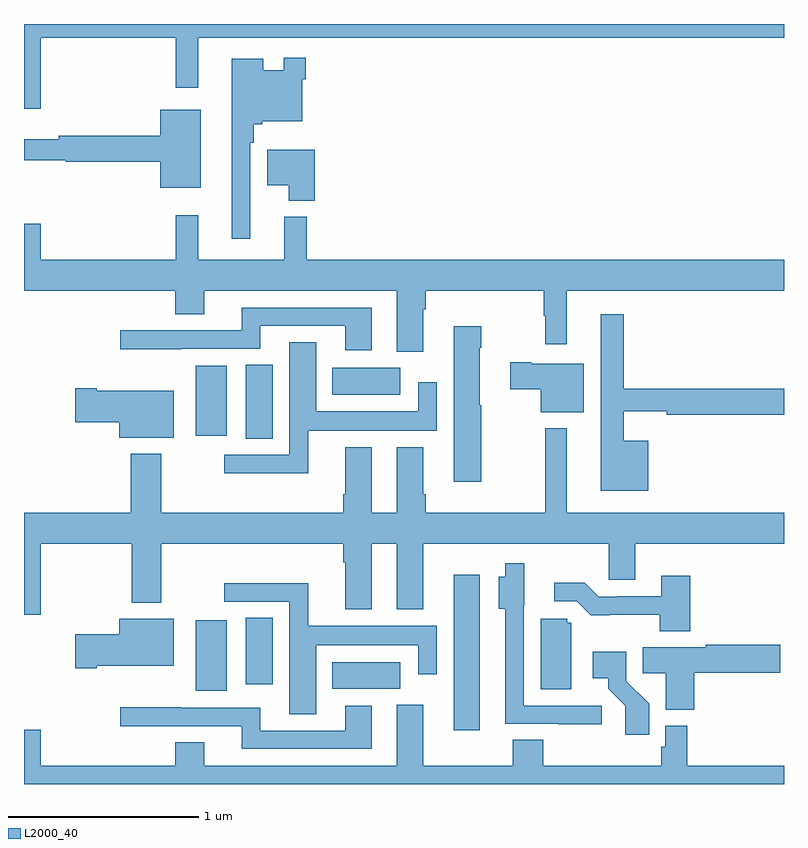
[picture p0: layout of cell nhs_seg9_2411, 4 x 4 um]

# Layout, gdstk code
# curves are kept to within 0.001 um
import gdstk
lib = gdstk.Library(unit=1e-6, precision=1e-09)
def R(c, l, rs):  # rectangles x0, y0, x1, y1
    for r in rs: c.add(gdstk.rectangle(r[:2], r[2:], *l))
def P(c, l, *ps):  # polygons
    for p in ps: c.add(gdstk.Polygon(p, *l))
L2000_40 = (2000, 40)

nhs_seg9_2411 = lib.new_cell('nhs_seg9_2411')
R(nhs_seg9_2411, L2000_40, [(251.261,1184.784,251.398,1185.601), (249.905,1184.99,250.066,1185.361), (250.622,1185.002,250.981,1185.142), (250.166,1185.024,250.309,1185.374), (250.166,1186.318,250.309,1186.706), (249.905,1186.332,250.066,1186.702), (250.622,1186.55,250.981,1186.69)])
P(nhs_seg9_2411, L2000_40, [(249.088,1188.428),(249.799,1188.428),(249.799,1188.165),(249.917,1188.165),(249.917,1188.428),(253,1188.428),(253,1188.5),(249,1188.5),(249,1188.054),(249.088,1188.054)],
  [(250.191,1187.876),(250.209,1187.876),(250.209,1187.972),(250.254,1187.972),(250.254,1187.987),(250.464,1187.987),(250.464,1188.209),(250.484,1188.209),(250.484,1188.322),(250.368,1188.322),(250.368,1188.256),(250.258,1188.256),(250.258,1188.316),(250.094,1188.316),(250.094,1187.37),(250.191,1187.37)],
  [(249.931,1188.049),(249.716,1188.049),(249.716,1187.912),(249.184,1187.912),(249.184,1187.893),(249,1187.893),(249,1187.784),(249.22,1187.784),(249.22,1187.776),(249.716,1187.776),(249.716,1187.639),(249.931,1187.639)],
  [(250.529,1187.839),(250.281,1187.839),(250.281,1187.651),(250.394,1187.651),(250.394,1187.57),(250.529,1187.57)],
  [(251.101,1187),(251.114,1187),(251.114,1187.096),(251.736,1187.096),(251.736,1186.964),(251.743,1186.964),(251.743,1186.815),(251.857,1186.815),(251.857,1187.096),(253,1187.096),(253,1187.26),(250.487,1187.26),(250.487,1187.485),(250.37,1187.485),(250.37,1187.26),(249.917,1187.26),(249.917,1187.494),(249.799,1187.494),(249.799,1187.26),(249.088,1187.26),(249.088,1187.449),(249,1187.449),(249,1187.096),(249.797,1187.096),(249.797,1186.972),(249.949,1186.972),(249.949,1187.096),(250.961,1187.096),(250.961,1186.776),(251.101,1186.776)],
  [(250.831,1187.007),(250.145,1187.007),(250.145,1186.887),(249.507,1186.887),(249.507,1186.789),(249.827,1186.789),(249.827,1186.791),(250.243,1186.791),(250.243,1186.911),(250.691,1186.911),(250.691,1186.782),(250.831,1186.782)],
  [(252.286,1186.306),(252.157,1186.306),(252.157,1186.463),(252.382,1186.463),(252.382,1186.444),(253,1186.444),(253,1186.58),(252.157,1186.58),(252.157,1186.972),(252.035,1186.972),(252.035,1186.043),(252.286,1186.043)],
  [(251.406,1186.493),(251.398,1186.493),(251.398,1186.796),(251.406,1186.796),(251.406,1186.909),(251.261,1186.909),(251.261,1186.092),(251.406,1186.092)],
  [(250.496,1186.358),(251.172,1186.358),(251.172,1186.615),(251.076,1186.615),(251.076,1186.462),(250.537,1186.462),(250.537,1186.826),(250.397,1186.826),(250.397,1186.233),(250.053,1186.233),(250.053,1186.136),(250.496,1186.136)],
  [(251.947,1186.711),(251.671,1186.711),(251.671,1186.719),(251.559,1186.719),(251.559,1186.577),(251.72,1186.577),(251.72,1186.457),(251.947,1186.457)],
  [(249.787,1186.57),(249.382,1186.57),(249.382,1186.583),(249.27,1186.583),(249.27,1186.405),(249.5,1186.405),(249.5,1186.322),(249.787,1186.322)],
  [(249.088,1185.764),(249.568,1185.764),(249.568,1185.455),(249.723,1185.455),(249.723,1185.764),(250.679,1185.764),(250.679,1185.668),(250.691,1185.668),(250.691,1185.419),(250.831,1185.419),(250.831,1185.764),(250.961,1185.764),(250.961,1185.419),(251.101,1185.419),(251.101,1185.764),(252.078,1185.764),(252.078,1185.574),(252.217,1185.574),(252.217,1185.764),(253,1185.764),(253,1185.928),(251.857,1185.928),(251.857,1186.372),(251.743,1186.372),(251.743,1185.928),(251.114,1185.928),(251.114,1186.024),(251.101,1186.024),(251.101,1186.273),(250.961,1186.273),(250.961,1185.928),(250.831,1185.928),(250.831,1186.273),(250.691,1186.273),(250.691,1186.024),(250.679,1186.024),(250.679,1185.928),(249.723,1185.928),(249.723,1186.237),(249.563,1186.237),(249.563,1185.928),(249,1185.928),(249,1185.39),(249.088,1185.39)],
  [(252.04,1184.913),(251.631,1184.913),(251.631,1185.438),(251.632,1185.438),(251.632,1185.661),(251.534,1185.661),(251.534,1185.592),(251.498,1185.592),(251.498,1185.422),(251.534,1185.422),(251.534,1184.817),(251.815,1184.817),(251.815,1184.815),(252.04,1184.815)],
  [(252.506,1185.595),(252.353,1185.595),(252.353,1185.489),(252.124,1185.489),(252.124,1185.486),(252.024,1185.486),(251.951,1185.559),(251.79,1185.559),(251.79,1185.462),(251.91,1185.462),(251.983,1185.389),(252.346,1185.39),(252.346,1185.305),(252.506,1185.305)],
  [(250.537,1185.23),(251.076,1185.23),(251.076,1185.078),(251.172,1185.078),(251.172,1185.334),(250.496,1185.334),(250.496,1185.557),(250.053,1185.557),(250.053,1185.459),(250.397,1185.459),(250.397,1184.866),(250.537,1184.866)],
  [(249.382,1185.122),(249.787,1185.122),(249.787,1185.37),(249.5,1185.37),(249.5,1185.288),(249.27,1185.288),(249.27,1185.11),(249.382,1185.11)],
  [(251.881,1185.348),(251.859,1185.348),(251.859,1185.369),(251.72,1185.369),(251.72,1185),(251.881,1185)],
  [(252.527,1185.086),(252.979,1185.086),(252.979,1185.233),(252.589,1185.233),(252.589,1185.22),(252.256,1185.22),(252.256,1185.082),(252.377,1185.082),(252.377,1184.891),(252.527,1184.891)],
  [(252.29,1184.922),(252.171,1185.041),(252.171,1185.196),(251.994,1185.196),(251.994,1185.056),(252.074,1185.056),(252.074,1185.001),(252.165,1184.911),(252.165,1184.76),(252.29,1184.76)],
  [(253,1184.596),(252.491,1184.596),(252.491,1184.806),(252.375,1184.806),(252.375,1184.697),(252.355,1184.697),(252.355,1184.596),(251.732,1184.596),(251.732,1184.732),(251.572,1184.732),(251.572,1184.596),(251.101,1184.596),(251.101,1184.917),(250.961,1184.917),(250.961,1184.596),(249.949,1184.596),(249.949,1184.72),(249.797,1184.72),(249.797,1184.596),(249.088,1184.596),(249.088,1184.785),(249,1184.785),(249,1184.5),(253,1184.5)],
  [(250.831,1184.911),(250.691,1184.911),(250.691,1184.781),(250.243,1184.781),(250.243,1184.901),(249.827,1184.901),(249.827,1184.904),(249.507,1184.904),(249.507,1184.805),(250.145,1184.805),(250.145,1184.685),(250.831,1184.685)])

lib.write_gds('nhs_seg9_2411.gds')
